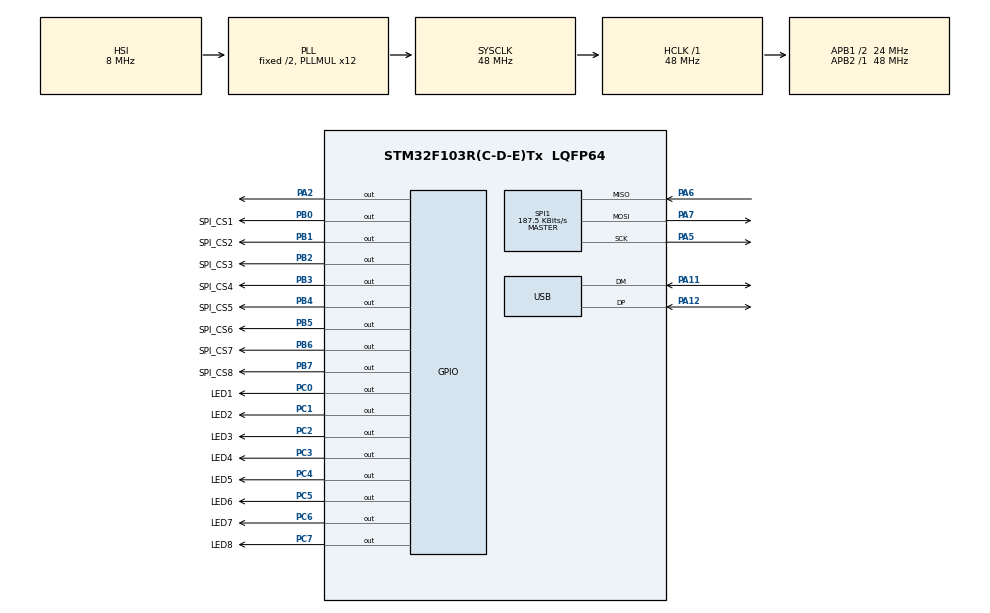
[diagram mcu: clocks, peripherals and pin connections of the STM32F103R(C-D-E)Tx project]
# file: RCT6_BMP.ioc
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FREERTOS.INCLUDE_vTaskDelayUntil=1
FREERTOS.Tasks01=defaultTask,0,1024,StartDefaultTask,Default,NULL,Dynamic,NULL,NULL;ledTask,-2,128,LedTask,Default,NULL,Dynamic,NULL,NULL
FREERTOS.configTOTAL_HEAP_SIZE=10240
Mcu.Family=STM32F1
Mcu.Name=STM32F103R(C-D-E)Tx
Mcu.Package=LQFP64
NVIC.PriorityGroup=NVIC_PRIORITYGROUP_4
NVIC.TIM7_IRQn=true\:15\:0\:false\:false\:true\:false\:false\:true\:true
NVIC.TimeBase=TIM7_IRQn
NVIC.TimeBaseIP=TIM7
NVIC.USB_LP_CAN1_RX0_IRQn=true\:5\:0\:false\:false\:true\:true\:false\:true\:true
PA11.Mode=Device
PA11.Signal=USB_DM
PA12.Mode=Device
PA12.Signal=USB_DP
PA13.Mode=Serial_Wire
PA13.Signal=SYS_JTMS-SWDIO
PA14.Mode=Serial_Wire
PA14.Signal=SYS_JTCK-SWCLK
PA2.GPIO_PuPd=GPIO_PULLUP
PA2.GPIO_Speed=GPIO_SPEED_FREQ_HIGH
PA2.PinState=GPIO_PIN_SET
PA2.Signal=GPIO_Output
PA5.Mode=Full_Duplex_Master
PA5.Signal=SPI1_SCK
PA6.Mode=Full_Duplex_Master
PA6.Signal=SPI1_MISO
PA7.Mode=Full_Duplex_Master
PA7.Signal=SPI1_MOSI
PB0.GPIO_Label=SPI_CS1
PB0.GPIO_ModeDefaultOutputPP=GPIO_MODE_OUTPUT_PP
PB0.GPIO_PuPd=GPIO_PULLUP
PB0.GPIO_Speed=GPIO_SPEED_FREQ_HIGH
PB0.PinState=GPIO_PIN_SET
PB0.Signal=GPIO_Output
PB1.GPIO_Label=SPI_CS2
PB1.GPIO_ModeDefaultOutputPP=GPIO_MODE_OUTPUT_PP
PB1.GPIO_PuPd=GPIO_PULLUP
PB1.GPIO_Speed=GPIO_SPEED_FREQ_HIGH
PB1.PinState=GPIO_PIN_SET
PB1.Signal=GPIO_Output
PB2.GPIO_Label=SPI_CS3
PB2.GPIO_ModeDefaultOutputPP=GPIO_MODE_OUTPUT_PP
PB2.GPIO_PuPd=GPIO_PULLUP
PB2.GPIO_Speed=GPIO_SPEED_FREQ_HIGH
PB2.PinState=GPIO_PIN_SET
PB2.Signal=GPIO_Output
PB3.GPIO_Label=SPI_CS4
PB3.GPIO_ModeDefaultOutputPP=GPIO_MODE_OUTPUT_PP
PB3.GPIO_PuPd=GPIO_PULLUP
PB3.GPIO_Speed=GPIO_SPEED_FREQ_HIGH
PB3.PinState=GPIO_PIN_SET
PB3.Signal=GPIO_Output
PB4.GPIO_Label=SPI_CS5
PB4.GPIO_ModeDefaultOutputPP=GPIO_MODE_OUTPUT_PP
PB4.GPIO_PuPd=GPIO_PULLUP
PB4.GPIO_Speed=GPIO_SPEED_FREQ_HIGH
PB4.PinState=GPIO_PIN_SET
PB4.Signal=GPIO_Output
PB5.GPIO_Label=SPI_CS6
PB5.GPIO_ModeDefaultOutputPP=GPIO_MODE_OUTPUT_PP
PB5.GPIO_PuPd=GPIO_PULLUP
PB5.GPIO_Speed=GPIO_SPEED_FREQ_HIGH
PB5.PinState=GPIO_PIN_SET
PB5.Signal=GPIO_Output
PB6.GPIO_Label=SPI_CS7
PB6.GPIO_ModeDefaultOutputPP=GPIO_MODE_OUTPUT_PP
PB6.GPIO_PuPd=GPIO_PULLUP
PB6.GPIO_Speed=GPIO_SPEED_FREQ_HIGH
PB6.PinState=GPIO_PIN_SET
PB6.Signal=GPIO_Output
PB7.GPIO_Label=SPI_CS8
PB7.GPIO_ModeDefaultOutputPP=GPIO_MODE_OUTPUT_PP
PB7.GPIO_PuPd=GPIO_PULLUP
PB7.GPIO_Speed=GPIO_SPEED_FREQ_HIGH
PB7.PinState=GPIO_PIN_SET
PB7.Signal=GPIO_Output
PC0.GPIO_Label=LED1
PC0.GPIO_ModeDefaultOutputPP=GPIO_MODE_OUTPUT_PP
PC0.GPIO_PuPd=GPIO_PULLDOWN
PC0.GPIO_Speed=GPIO_SPEED_FREQ_HIGH
PC0.PinState=GPIO_PIN_SET
PC0.Signal=GPIO_Output
PC1.GPIO_Label=LED2
PC1.GPIO_ModeDefaultOutputPP=GPIO_MODE_OUTPUT_PP
PC1.GPIO_PuPd=GPIO_PULLDOWN
PC1.GPIO_Speed=GPIO_SPEED_FREQ_HIGH
PC1.PinState=GPIO_PIN_SET
PC1.Signal=GPIO_Output
PC2.GPIO_Label=LED3
PC2.GPIO_ModeDefaultOutputPP=GPIO_MODE_OUTPUT_PP
PC2.GPIO_PuPd=GPIO_PULLDOWN
PC2.GPIO_Speed=GPIO_SPEED_FREQ_HIGH
PC2.PinState=GPIO_PIN_SET
PC2.Signal=GPIO_Output
PC3.GPIO_Label=LED4
PC3.GPIO_ModeDefaultOutputPP=GPIO_MODE_OUTPUT_PP
PC3.GPIO_PuPd=GPIO_PULLDOWN
PC3.GPIO_Speed=GPIO_SPEED_FREQ_HIGH
PC3.PinState=GPIO_PIN_SET
PC3.Signal=GPIO_Output
PC4.GPIO_Label=LED5
PC4.GPIO_ModeDefaultOutputPP=GPIO_MODE_OUTPUT_PP
PC4.GPIO_PuPd=GPIO_PULLDOWN
PC4.GPIO_Speed=GPIO_SPEED_FREQ_HIGH
PC4.PinState=GPIO_PIN_SET
PC4.Signal=GPIO_Output
PC5.GPIO_Label=LED6
PC5.GPIO_ModeDefaultOutputPP=GPIO_MODE_OUTPUT_PP
PC5.GPIO_PuPd=GPIO_PULLDOWN
PC5.GPIO_Speed=GPIO_SPEED_FREQ_HIGH
PC5.PinState=GPIO_PIN_SET
PC5.Signal=GPIO_Output
PC6.GPIO_Label=LED7
PC6.GPIO_ModeDefaultOutputPP=GPIO_MODE_OUTPUT_PP
PC6.GPIO_PuPd=GPIO_PULLDOWN
PC6.GPIO_Speed=GPIO_SPEED_FREQ_HIGH
PC6.PinState=GPIO_PIN_SET
PC6.Signal=GPIO_Output
PC7.GPIO_Label=LED8
PC7.GPIO_ModeDefaultOutputPP=GPIO_MODE_OUTPUT_PP
PC7.GPIO_PuPd=GPIO_PULLUP
PC7.GPIO_Speed=GPIO_SPEED_FREQ_HIGH
PC7.PinState=GPIO_PIN_SET
PC7.Signal=GPIO_Output
PD0-OSC_IN.Mode=HSE-External-Oscillator
PD0-OSC_IN.Signal=RCC_OSC_IN
PD1-OSC_OUT.Mode=HSE-External-Oscillator
PD1-OSC_OUT.Signal=RCC_OSC_OUT
ProjectManager.HeapSize=0x100
ProjectManager.StackSize=0xA00
ProjectManager.TargetToolchain=MDK-ARM V5.32
RCC.AHBFreq_Value=48000000
RCC.APB1CLKDivider=RCC_HCLK_DIV2
RCC.APB1Freq_Value=24000000
RCC.APB1TimFreq_Value=48000000
RCC.APB2Freq_Value=48000000
RCC.APB2TimFreq_Value=48000000
RCC.HCLKFreq_Value=48000000
RCC.PLLMUL=RCC_PLL_MUL12
RCC.PLLSource=RCC_PLLSOURCE_HSI_DIV2
RCC.PLLSourceVirtual=RCC_PLLSOURCE_HSI_DIV2
RCC.SYSCLKFreq_VALUE=48000000
RCC.SYSCLKSource=RCC_SYSCLKSOURCE_PLLCLK
RCC.USBFreq_Value=48000000
SPI1.BaudRatePrescaler=SPI_BAUDRATEPRESCALER_256
SPI1.CalculateBaudRate=187.5 KBits/s
SPI1.Direction=SPI_DIRECTION_2LINES
SPI1.Mode=SPI_MODE_MASTER
SPI1.VirtualType=VM_MASTER
USB_DEVICE.CLASS_NAME_FS=CDC
USB_DEVICE.VirtualMode=Cdc
USB_DEVICE.VirtualModeFS=Cdc_FS
VP_FREERTOS_VS_CMSIS_V1.Mode=CMSIS_V1
VP_SYS_VS_tim7.Mode=TIM7
VP_USB_DEVICE_VS_USB_DEVICE_CDC_FS.Mode=CDC_FS
board=custom

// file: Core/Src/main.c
/* USER CODE BEGIN Header */
/**
  ******************************************************************************
  * @file           : main.c
  * @brief          : Main program body
  ******************************************************************************
  * @attention
  *
  * Copyright (c) 2025 STMicroelectronics.
  * All rights reserved.
  *
  * This software is licensed under terms that can be found in the LICENSE file
  * in the root directory of this software component.
  * If no LICENSE file comes with this software, it is provided AS-IS.
  *
  ******************************************************************************
  */
/* USER CODE END Header */
#include "main.h"
#include "cmsis_os.h"
#include "spi.h"
#include "usb_device.h"
#include "gpio.h"

void SystemClock_Config(void);
void MX_FREERTOS_Init(void);

int main(void)
{

  /* MCU Configuration--------------------------------------------------------*/

  /* Reset of all peripherals, Initializes the Flash interface and the Systick. */
  HAL_Init();

  /* Configure the system clock */
  SystemClock_Config();

  /* Initialize all configured peripherals */
  MX_GPIO_Init();
  MX_SPI1_Init();

  /* Call init function for freertos objects (in freertos.c) */
  MX_FREERTOS_Init();

  /* Start scheduler */
  osKernelStart();

  /* We should never get here as control is now taken by the scheduler */
  /* Infinite loop */
  /* USER CODE BEGIN WHILE */

  while (1)
  {
//	  sprintf(usb_TxBuf,"Frame %d: \r\n",123);
//	  CDC_Transmit_FS((uint8_t *)usb_TxBuf, strlen((char *)usb_TxBuf));//USB CDC
//	  HAL_UART_Transmit(&huart2,(uint8_t *)usb_TxBuf,strlen(usb_TxBuf),0xffff);

    /* USER CODE END WHILE */

  }
}

void SystemClock_Config(void)
{
  RCC_OscInitTypeDef RCC_OscInitStruct = {0};
  RCC_ClkInitTypeDef RCC_ClkInitStruct = {0};
  RCC_PeriphCLKInitTypeDef PeriphClkInit = {0};

  /** Initializes the RCC Oscillators according to the specified parameters
  * in the RCC_OscInitTypeDef structure.
  */
  RCC_OscInitStruct.OscillatorType = RCC_OSCILLATORTYPE_HSI;
  RCC_OscInitStruct.HSIState = RCC_HSI_ON;
  RCC_OscInitStruct.HSICalibrationValue = RCC_HSICALIBRATION_DEFAULT;
  RCC_OscInitStruct.PLL.PLLState = RCC_PLL_ON;
  RCC_OscInitStruct.PLL.PLLSource = RCC_PLLSOURCE_HSI_DIV2;
  RCC_OscInitStruct.PLL.PLLMUL = RCC_PLL_MUL12;
  if (HAL_RCC_OscConfig(&RCC_OscInitStruct) != HAL_OK)
  {
    Error_Handler();
  }

  /** Initializes the CPU, AHB and APB buses clocks
  */
  RCC_ClkInitStruct.ClockType = RCC_CLOCKTYPE_HCLK|RCC_CLOCKTYPE_SYSCLK
                              |RCC_CLOCKTYPE_PCLK1|RCC_CLOCKTYPE_PCLK2;
  RCC_ClkInitStruct.SYSCLKSource = RCC_SYSCLKSOURCE_PLLCLK;
  RCC_ClkInitStruct.AHBCLKDivider = RCC_SYSCLK_DIV1;
  RCC_ClkInitStruct.APB1CLKDivider = RCC_HCLK_DIV2;
  RCC_ClkInitStruct.APB2CLKDivider = RCC_HCLK_DIV1;

  if (HAL_RCC_ClockConfig(&RCC_ClkInitStruct, FLASH_LATENCY_1) != HAL_OK)
  {
    Error_Handler();
  }
  PeriphClkInit.PeriphClockSelection = RCC_PERIPHCLK_USB;
  PeriphClkInit.UsbClockSelection = RCC_USBCLKSOURCE_PLL;
  if (HAL_RCCEx_PeriphCLKConfig(&PeriphClkInit) != HAL_OK)
  {
    Error_Handler();
  }
}

void HAL_TIM_PeriodElapsedCallback(TIM_HandleTypeDef *htim)
{
  if (htim->Instance == TIM7) {
    HAL_IncTick();
  }
}

void Error_Handler(void)
{
  __disable_irq();
  while (1)
  {
  }
}

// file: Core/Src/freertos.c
/* USER CODE BEGIN Header */
/**
  ******************************************************************************
  * File Name          : freertos.c
  * Description        : Code for freertos applications
  ******************************************************************************
  * @attention
  *
  * Copyright (c) 2025 STMicroelectronics.
  * All rights reserved.
  *
  * This software is licensed under terms that can be found in the LICENSE file
  * in the root directory of this software component.
  * If no LICENSE file comes with this software, it is provided AS-IS.
  *
  ******************************************************************************
  */
/* USER CODE END Header */

#include "FreeRTOS.h"
#include "task.h"
#include "main.h"
#include "cmsis_os.h"

/* USER CODE BEGIN Includes */
#include "usbd_cdc_if.h"
/* USER CODE END Includes */

osThreadId defaultTaskHandle;
osThreadId ledTaskHandle;

/* USER CODE BEGIN FunctionPrototypes */
void LED_blink_1_4(void);
float LowHighFilter(float current, float fc, float fs,
                   float* prev_lowpass_output,
                   float* prev_highpass_output,
                   float* prev_input);
float LowPassFilter_direct(float current,float alpha, float* prev_lowpass_output);

void LPF_Init(LowPassFilter *lpf, float fc, float fs);
float LPF_Compute(LowPassFilter *lpf, float x);
void HPF_Init(HighPassFilter *hpf, float fc, float fs);
float HPF_Compute(HighPassFilter *hpf, float x);

/* USER CODE END FunctionPrototypes */

void StartDefaultTask(void const * argument);
void LedTask(void const * argument);

extern void MX_USB_DEVICE_Init(void);
void MX_FREERTOS_Init(void); /* (MISRA C 2004 rule 8.1) */

/* GetIdleTaskMemory prototype (linked to static allocation support) */
void vApplicationGetIdleTaskMemory( StaticTask_t **ppxIdleTaskTCBBuffer, StackType_t **ppxIdleTaskStackBuffer, uint32_t *pulIdleTaskStackSize );

/* USER CODE BEGIN GET_IDLE_TASK_MEMORY */
static StaticTask_t xIdleTaskTCBBuffer;
static StackType_t xIdleStack[configMINIMAL_STACK_SIZE];

void vApplicationGetIdleTaskMemory( StaticTask_t **ppxIdleTaskTCBBuffer, StackType_t **ppxIdleTaskStackBuffer, uint32_t *pulIdleTaskStackSize )
{
  *ppxIdleTaskTCBBuffer = &xIdleTaskTCBBuffer;
  *ppxIdleTaskStackBuffer = &xIdleStack[0];
  *pulIdleTaskStackSize = configMINIMAL_STACK_SIZE;
  /* place for user code */
}
/* USER CODE END GET_IDLE_TASK_MEMORY */

void MX_FREERTOS_Init(void) {

  /* Create the thread(s) */
  /* definition and creation of defaultTask */
  osThreadDef(defaultTask, StartDefaultTask, osPriorityNormal, 0, 1024);
  defaultTaskHandle = osThreadCreate(osThread(defaultTask), NULL);

  /* definition and creation of ledTask */
  osThreadDef(ledTask, LedTask, osPriorityLow, 0, 128);
  ledTaskHandle = osThreadCreate(osThread(ledTask), NULL);

}

/* USER CODE BEGIN Header_StartDefaultTask */
/**
  * @brief  Function implementing the defaultTask thread.
  * @param  argument: Not used
  * @retval None
  */
#define PRINT_MESSAGE 0

float Prev_low_value[4];
float Prev_high_value[4];
float Prev_input_value[4];

float Prev_value11=0.0;
float Prev_value22=0.0;
float Prev_value33=0.0;
float Prev_value44=0.0;

LowPassFilter LFilter[4];
HighPassFilter HFilter[4];
float HighPass_value[4];

Protocol_struct Highpass_fdata;

BMP280_Device bmp_dev1;
BMP280_Device bmp_dev2;
BMP280_Device bmp_dev3;
BMP280_Device bmp_dev4;

Word_union Binary_data[4];
/* USER CODE END Header_StartDefaultTask */
void StartDefaultTask(void const * argument)
{
  /* init code for USB_DEVICE */
  MX_USB_DEVICE_Init();
  /* USER CODE BEGIN StartDefaultTask */
	char usb_TxBuf[1024]={0};

	bmp_dev1.hspi = &hspi1;
    bmp_dev1.cs_port = SPI_CS1_GPIO_Port;
    bmp_dev1.cs_pin = SPI_CS1_Pin;

	bmp_dev2.hspi = &hspi1;
    bmp_dev2.cs_port = SPI_CS2_GPIO_Port;
    bmp_dev2.cs_pin = SPI_CS2_Pin;

	bmp_dev3.hspi = &hspi1;
    bmp_dev3.cs_port = SPI_CS3_GPIO_Port;
    bmp_dev3.cs_pin = SPI_CS3_Pin;

	bmp_dev4.hspi = &hspi1;
//    bmp_dev4.cs_port = SPI_CS4_GPIO_Port;
//    bmp_dev4.cs_pin = SPI_CS4_Pin;
	bmp_dev4.cs_port = GPIOA;
	bmp_dev4.cs_pin = GPIO_PIN_2;

	while(BMP280_Init(&bmp_dev1) != HAL_OK)
	{
		sprintf(usb_TxBuf,"dev1初始化失败\r\n");
		CDC_Transmit_FS((uint8_t *)usb_TxBuf,strlen(usb_TxBuf));
		osDelay(500);
	}
	while(BMP280_Init(&bmp_dev2) != HAL_OK)
	{
		sprintf(usb_TxBuf,"dev2初始化失败\r\n");
		CDC_Transmit_FS((uint8_t *)usb_TxBuf,strlen(usb_TxBuf));
		osDelay(500);
	}
	while(BMP280_Init(&bmp_dev3) != HAL_OK)
	{
		sprintf(usb_TxBuf,"dev3初始化失败\r\n");
		CDC_Transmit_FS((uint8_t *)usb_TxBuf,strlen(usb_TxBuf));
		osDelay(500);
	}
	while(BMP280_Init(&bmp_dev4) != HAL_OK)
	{
		sprintf(usb_TxBuf,"dev4初始化失败\r\n");
		CDC_Transmit_FS((uint8_t *)usb_TxBuf,strlen(usb_TxBuf));
		osDelay(500);
	}

	Highpass_fdata.head[0]=0x55;//帧头
	Highpass_fdata.head[1]=0xAA;
	Highpass_fdata.head[2]=0xBB;
	Highpass_fdata.head[3]=0xCC;

	Highpass_fdata.tail[0]=0xAA;//帧尾
	Highpass_fdata.tail[1]=0x55;
	Highpass_fdata.tail[2]=0x66;
	Highpass_fdata.tail[3]=0x77;

	HFilter[0].x_prev=100.0;
	HFilter[1].x_prev=100.0;
	HFilter[2].x_prev=100.0;
	HFilter[3].x_prev=100.0;

	LPF_Init(&LFilter[0],10,50);
	LPF_Init(&LFilter[1],10,50);
	LPF_Init(&LFilter[2],10,50);
	LPF_Init(&LFilter[3],10,50);

	HPF_Init(&HFilter[0],0.2,50);
	HPF_Init(&HFilter[1],0.2,50);
	HPF_Init(&HFilter[2],0.2,50);
	HPF_Init(&HFilter[3],0.2,50);

	TickType_t xLastWakeTime = xTaskGetTickCount();
  /* Infinite loop */
	for(;;)
	{
		#if PRINT_MESSAGE == 1
		  sprintf(usb_TxBuf,"\r\n\r\n");
		  /* 读取压力和温度 */
			if (BMP280_ReadPressureTemperature(&bmp_dev1) == HAL_OK) {
				sprintf(usb_TxBuf+strlen(usb_TxBuf),"dev1\r\n");
				sprintf(usb_TxBuf+strlen(usb_TxBuf),"温度: %.2f °C\r\n", bmp_dev1.temperature);
				sprintf(usb_TxBuf+strlen(usb_TxBuf),"压力: %.2f kPa\r\n", bmp_dev1.pressure);
				sprintf(usb_TxBuf+strlen(usb_TxBuf),"海拔: %.2f m\r\n", bmp_dev1.altitude);
				sprintf(usb_TxBuf+strlen(usb_TxBuf),"------------------------\r\n");
			} else {
				sprintf(usb_TxBuf,"dev1读取数据失败\r\n");
			}
			if (BMP280_ReadPressureTemperature(&bmp_dev2) == HAL_OK) {
				sprintf(usb_TxBuf+strlen(usb_TxBuf),"dev2\r\n");
				sprintf(usb_TxBuf+strlen(usb_TxBuf),"温度: %.2f °C\r\n", bmp_dev2.temperature);
				sprintf(usb_TxBuf+strlen(usb_TxBuf),"压力: %.2f kPa\r\n", bmp_dev2.pressure);
				sprintf(usb_TxBuf+strlen(usb_TxBuf),"海拔: %.2f m\r\n", bmp_dev2.altitude);
				sprintf(usb_TxBuf+strlen(usb_TxBuf),"------------------------\r\n");
			} else {
				sprintf(usb_TxBuf,"dev2读取数据失败\r\n");
			}
			if (BMP280_ReadPressureTemperature(&bmp_dev3) == HAL_OK) {
				sprintf(usb_TxBuf+strlen(usb_TxBuf),"dev3\r\n");
				sprintf(usb_TxBuf+strlen(usb_TxBuf),"温度: %.2f °C\r\n", bmp_dev3.temperature);
				sprintf(usb_TxBuf+strlen(usb_TxBuf),"压力: %.2f kPa\r\n", bmp_dev3.pressure);
				sprintf(usb_TxBuf+strlen(usb_TxBuf),"海拔: %.2f m\r\n", bmp_dev3.altitude);
				sprintf(usb_TxBuf+strlen(usb_TxBuf),"------------------------\r\n");
			} else {
				sprintf(usb_TxBuf,"dev3读取数据失败\r\n");
			}
			if (BMP280_ReadPressureTemperature(&bmp_dev4) == HAL_OK) {
				sprintf(usb_TxBuf+strlen(usb_TxBuf),"dev4\r\n");
				sprintf(usb_TxBuf+strlen(usb_TxBuf),"温度: %.2f °C\r\n", bmp_dev4.temperature);
				sprintf(usb_TxBuf+strlen(usb_TxBuf),"压力: %.2f kPa\r\n", bmp_dev4.pressure);
				sprintf(usb_TxBuf+strlen(usb_TxBuf),"海拔: %.2f m\r\n", bmp_dev4.altitude);
				sprintf(usb_TxBuf+strlen(usb_TxBuf),"------------------------\r\n");
			} else {
				sprintf(usb_TxBuf,"dev4读取数据失败\r\n");
			}
			CDC_Transmit_FS((uint8_t *)usb_TxBuf,strlen(usb_TxBuf));
		#endif

		#if PRINT_MESSAGE == 0
			BMP280_ReadPressureTemperature(&bmp_dev1);
			BMP280_ReadPressureTemperature(&bmp_dev2);
			BMP280_ReadPressureTemperature(&bmp_dev3);
			BMP280_ReadPressureTemperature(&bmp_dev4);

			Highpass_fdata.value[0] = HPF_Compute(&HFilter[0], bmp_dev1.pressure);
			Highpass_fdata.value[1] = HPF_Compute(&HFilter[1], bmp_dev2.pressure);
			Highpass_fdata.value[2] = HPF_Compute(&HFilter[2], bmp_dev3.pressure);
			Highpass_fdata.value[3] = HPF_Compute(&HFilter[3], bmp_dev4.pressure);

			Highpass_fdata.value[0] = LPF_Compute(&LFilter[0], Highpass_fdata.value[0]);
			Highpass_fdata.value[1] = LPF_Compute(&LFilter[1], Highpass_fdata.value[1]);
			Highpass_fdata.value[2] = LPF_Compute(&LFilter[2], Highpass_fdata.value[2]);
			Highpass_fdata.value[3] = LPF_Compute(&LFilter[3], Highpass_fdata.value[3]);

//			Highpass_fdata.value[0]=LowPassFilter_direct(Highpass_fdata.value[0],0.2,&Prev_value11);
//			Highpass_fdata.value[1]=LowPassFilter_direct(Highpass_fdata.value[1],0.2,&Prev_value22);
//			Highpass_fdata.value[2]=LowPassFilter_direct(Highpass_fdata.value[2],0.2,&Prev_value33);
//			Highpass_fdata.value[3]=LowPassFilter_direct(Highpass_fdata.value[3],0.2,&Prev_value44);

//			Binary_data[0].word16=(uint16_t)(HighPass_value1*100.0);
//			sprintf(usb_TxBuf,"%f,%f\r\n",bmp_dev1.pressure,LowPass_value1);
			sprintf(usb_TxBuf,"%f,%f,%f,%f,%f,%f,%f,%f\r\n",bmp_dev1.pressure,bmp_dev2.pressure,bmp_dev3.pressure,bmp_dev4.pressure,
			Highpass_fdata.value[0],Highpass_fdata.value[1],Highpass_fdata.value[2],Highpass_fdata.value[3]
			);

//			CDC_Transmit_FS((uint8_t *)usb_TxBuf,strlen(usb_TxBuf));
			CDC_Transmit_FS((uint8_t *)(&Highpass_fdata),24);
		#endif

//		HAL_GPIO_TogglePin(SPI_CS1_GPIO_Port,SPI_CS1_Pin);
//		HAL_GPIO_TogglePin(SPI_CS2_GPIO_Port,SPI_CS2_Pin);
//		HAL_GPIO_TogglePin(SPI_CS3_GPIO_Port,SPI_CS3_Pin);
//		HAL_GPIO_TogglePin(SPI_CS4_GPIO_Port,SPI_CS4_Pin);
//
//		HAL_GPIO_TogglePin(SPI_CS5_GPIO_Port,SPI_CS5_Pin);
//		HAL_GPIO_TogglePin(SPI_CS6_GPIO_Port,SPI_CS6_Pin);
//		HAL_GPIO_TogglePin(SPI_CS7_GPIO_Port,SPI_CS7_Pin);
//		HAL_GPIO_TogglePin(SPI_CS8_GPIO_Port,SPI_CS8_Pin);
//
//		HAL_GPIO_TogglePin(GPIOA,GPIO_PIN_2);

//		LED_blink_1_4();
//		HAL_GPIO_TogglePin(LED5_GPIO_Port,LED5_Pin);
//		HAL_GPIO_TogglePin(LED6_GPIO_Port,LED6_Pin);
//		HAL_GPIO_TogglePin(LED7_GPIO_Port,LED7_Pin);
//		HAL_GPIO_TogglePin(LED8_GPIO_Port,LED8_Pin);

//		osDelay(20);
		vTaskDelayUntil(&xLastWakeTime, pdMS_TO_TICKS(20));
	}
  /* USER CODE END StartDefaultTask */
}

void LedTask(void const * argument)
{
  /* USER CODE BEGIN LedTask */
	for(uint8_t i=0;i<10;i++)
	{
		HAL_GPIO_TogglePin(LED1_GPIO_Port,LED1_Pin);
		HAL_GPIO_TogglePin(LED2_GPIO_Port,LED2_Pin);
		HAL_GPIO_TogglePin(LED3_GPIO_Port,LED3_Pin);
		HAL_GPIO_TogglePin(LED4_GPIO_Port,LED4_Pin);
		osDelay(100);
	}

	TickType_t xLastWakeTime = xTaskGetTickCount();
  /* Infinite loop */
	for(;;)
	{
//		if(Highpass_fdata.value[0]>=0.1)	HAL_GPIO_WritePin(LED1_GPIO_Port,LED1_Pin,0); else	HAL_GPIO_WritePin(LED1_GPIO_Port,LED1_Pin,1);
//		if(Highpass_fdata.value[1]>=0.1)	HAL_GPIO_WritePin(LED2_GPIO_Port,LED2_Pin,0); else	HAL_GPIO_WritePin(LED2_GPIO_Port,LED2_Pin,1);
//		if(Highpass_fdata.value[2]>=0.1)	HAL_GPIO_WritePin(LED3_GPIO_Port,LED3_Pin,0); else	HAL_GPIO_WritePin(LED3_GPIO_Port,LED3_Pin,1);
//		if(Highpass_fdata.value[3]>=0.0)	HAL_GPIO_WritePin(LED4_GPIO_Port,LED4_Pin,0); else	HAL_GPIO_WritePin(LED4_GPIO_Port,LED4_Pin,1);

//		osDelay(10);
		vTaskDelayUntil(&xLastWakeTime, pdMS_TO_TICKS(10));
	}
  /* USER CODE END LedTask */
}

/* USER CODE BEGIN Application */
void LED_blink_1_4(void)
{
	static uint8_t cnt=0;
	switch(cnt)
	{
		case 0:
		{
			HAL_GPIO_WritePin(LED1_GPIO_Port,LED1_Pin,0);
			HAL_GPIO_WritePin(LED2_GPIO_Port,LED2_Pin,1);
			HAL_GPIO_WritePin(LED3_GPIO_Port,LED3_Pin,1);
			HAL_GPIO_WritePin(LED4_GPIO_Port,LED4_Pin,1);
			break;
		}
		case 1:
		{
			HAL_GPIO_WritePin(LED1_GPIO_Port,LED1_Pin,1);
			HAL_GPIO_WritePin(LED2_GPIO_Port,LED2_Pin,0);
			HAL_GPIO_WritePin(LED3_GPIO_Port,LED3_Pin,1);
			HAL_GPIO_WritePin(LED4_GPIO_Port,LED4_Pin,1);
			break;
		}
		case 2:
		{
			HAL_GPIO_WritePin(LED1_GPIO_Port,LED1_Pin,1);
			HAL_GPIO_WritePin(LED2_GPIO_Port,LED2_Pin,1);
			HAL_GPIO_WritePin(LED3_GPIO_Port,LED3_Pin,0);
			HAL_GPIO_WritePin(LED4_GPIO_Port,LED4_Pin,1);
			break;
		}
		case 3:
		{
			HAL_GPIO_WritePin(LED1_GPIO_Port,LED1_Pin,1);
			HAL_GPIO_WritePin(LED2_GPIO_Port,LED2_Pin,1);
			HAL_GPIO_WritePin(LED3_GPIO_Port,LED3_Pin,1);
			HAL_GPIO_WritePin(LED4_GPIO_Port,LED4_Pin,0);
			break;
		}
		default:
			HAL_GPIO_WritePin(LED1_GPIO_Port,LED1_Pin,1);
			HAL_GPIO_WritePin(LED2_GPIO_Port,LED2_Pin,1);
			HAL_GPIO_WritePin(LED3_GPIO_Port,LED3_Pin,1);
			HAL_GPIO_WritePin(LED4_GPIO_Port,LED4_Pin,1);
	}
	if(cnt<3)cnt++;
	else cnt=0;

}

/**
 * @brief 一阶IIR低通滤波函数（浮点数版）
 * @param current 当前传感器采样值（已转换为物理量，如电压）
 * @param fc 截止频率（单位：Hz，需小于fs/2）
 * @param fs 采样频率（单位：Hz）
 * @param prev_lowpass_output 前一次低通滤波输出值的指针（输入/输出）
 * @param prev_highpass_output 前一次高通滤波输出值的指针（输入/输出）
 * @param prev_input 前一次输入值的指针（输入/输出）
 * @param highpass_output 高通滤波输出值的指针（输出）
 * @return 低通滤波后的值
 */
float LowHighFilter(float current, float fc, float fs,
                   float* prev_lowpass_output,
                   float* prev_highpass_output,
                   float* prev_input) {
    // 计算采样周期
    float Ts = 1.0f / fs;

    // 计算正确的滤波系数α
    float alpha = (2.0f * 3.1416f * fc * Ts) / (1.0f + 2.0f * 3.1416f * fc * Ts);

    // 低通滤波计算
    float lowpass_output = alpha * current + (1.0f - alpha) * (*prev_lowpass_output);

    // 高通滤波（单独实现，不依赖低通结果）
    float high_alpha = alpha / (alpha + 2.0f);
    float hp_output = high_alpha * (*prev_highpass_output + current - *prev_input);

    // 更新输出和状态
    *prev_highpass_output = hp_output;
    *prev_input = current;
    *prev_lowpass_output = lowpass_output;

    return lowpass_output;
}

/**
 * @brief 一阶IIR低通滤波函数（浮点数版）直接指定α
 * @param current 当前传感器采样值（已转换为物理量，如电压）
 * @param fc 截止频率（单位：Hz，需小于fs/2）
 * @param fs 采样频率（单位：Hz）
 * @return 滤波后的值
 */
float LowPassFilter_direct(float current,float alpha, float* prev_lowpass_output) {

    // 滤波计算：当前输出 = α*当前输入 + (1-α)*前一次输出    α越小信号越缓慢
    float output = alpha * current + (1.0f - alpha) * (*prev_lowpass_output);

    // 更新前一次输出
    (*prev_lowpass_output) = output;

    return output;
}

/**
 * 初始化低通滤波器
 * @param lpf 低通滤波器结构体指针
 * @param fc 截止频率(Hz)
 * @param fs 采样频率(Hz)
 */
void LPF_Init(LowPassFilter *lpf, float fc, float fs) {
    lpf->fc = fc;
    lpf->fs = fs;
    float tau = 1.0f / (2.0f * 3.1415926f * fc);  // 时间常数
    float dt = 1.0f / fs;                           // 采样周期
    lpf->alpha = dt / (tau + dt);                   // 计算滤波系数
    lpf->y_prev = 0.0f;                             // 初始化历史值
}

/**
 * 计算低通滤波器输出
 * @param lpf 低通滤波器结构体指针
 * @param x 当前输入值
 * @return 滤波后的输出值
 */
float LPF_Compute(LowPassFilter *lpf, float x) {
    float y = lpf->alpha * x + (1.0f - lpf->alpha) * lpf->y_prev;
    lpf->y_prev = y;  // 更新历史值
    return y;
}

/**
 * 初始化高通滤波器
 * @param hpf 高通滤波器结构体指针
 * @param fc 截止频率(Hz)
 * @param fs 采样频率(Hz)
 */
void HPF_Init(HighPassFilter *hpf, float fc, float fs) {
    hpf->fc = fc;
    hpf->fs = fs;
    float tau = 1.0f / (2.0f * 3.1415926f * fc);  // 时间常数
    float dt = 1.0f / fs;                           // 采样周期
    hpf->alpha = tau / (tau + dt);                  // 计算滤波系数
    hpf->x_prev = 0.0f;                             // 初始化历史输入
    hpf->y_prev = 0.0f;                             // 初始化历史输出
}

/**
 * 计算高通滤波器输出
 * @param hpf 高通滤波器结构体指针
 * @param x 当前输入值
 * @return 滤波后的输出值
 */
float HPF_Compute(HighPassFilter *hpf, float x) {
    float y = hpf->alpha * (hpf->y_prev + x - hpf->x_prev);

    hpf->x_prev = x;      // 更新历史输入
    hpf->y_prev = y;      // 更新历史输出

	if(y<0)y=0;

    return y;
}
/* USER CODE END Application */
